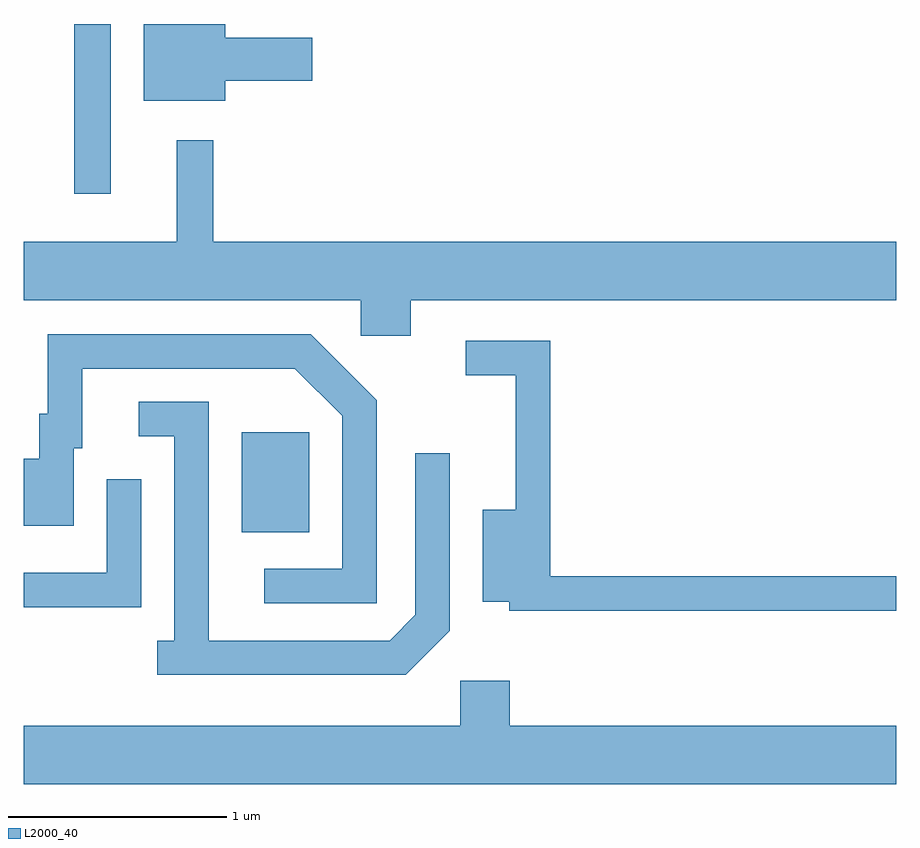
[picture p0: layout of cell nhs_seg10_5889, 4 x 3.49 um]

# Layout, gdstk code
import gdstk
lib = gdstk.Library(unit=1e-6, precision=1e-09)
def R(c, l, rs):  # rectangles x0, y0, x1, y1
    for r in rs: c.add(gdstk.rectangle(r[:2], r[2:], *l))
def P(c, l, *ps):  # polygons
    for p in ps: c.add(gdstk.Polygon(p, *l))
L2000_40 = (2000, 40)

nhs_seg10_5889 = lib.new_cell('nhs_seg10_5889')
R(nhs_seg10_5889, L2000_40, [(360.611,2106.191,360.919,2106.649), (359.841,2107.743,360.009,2108.522)])
P(nhs_seg10_5889, L2000_40, [(360.534,2108.261),(360.934,2108.261),(360.934,2108.459),(360.534,2108.459),(360.534,2108.522),(360.161,2108.522),(360.161,2108.171),(360.534,2108.171)],
  [(361.384,2107.256),(363.611,2107.256),(363.611,2107.524),(360.479,2107.524),(360.479,2107.988),(360.311,2107.988),(360.311,2107.524),(359.611,2107.524),(359.611,2107.256),(361.156,2107.256),(361.156,2107.091),(361.384,2107.091)],
  [(361.229,2106.797),(360.927,2107.099),(359.721,2107.099),(359.721,2106.734),(359.681,2106.734),(359.681,2106.529),(359.611,2106.529),(359.611,2106.221),(359.839,2106.221),(359.839,2106.576),(359.879,2106.576),(359.879,2106.941),(360.854,2106.941),(361.071,2106.724),(361.071,2106.024),(360.713,2106.024),(360.713,2105.866),(361.229,2105.866)],
  [(363.611,2105.989),(362.024,2105.989),(362.024,2107.069),(361.638,2107.069),(361.638,2106.911),(361.866,2106.911),(361.866,2106.294),(361.716,2106.294),(361.716,2105.871),(361.836,2105.871),(361.836,2105.831),(363.611,2105.831)],
  [(361.564,2105.739),(361.564,2106.553),(361.406,2106.553),(361.406,2105.812),(361.289,2105.694),(360.459,2105.694),(360.459,2106.789),(360.138,2106.789),(360.138,2106.631),(360.301,2106.631),(360.301,2105.694),(360.223,2105.694),(360.223,2105.536),(361.362,2105.536)],
  [(360.149,2106.433),(359.991,2106.433),(359.991,2106.004),(359.611,2106.004),(359.611,2105.846),(360.149,2105.846)],
  [(363.611,2105.304),(361.839,2105.304),(361.839,2105.509),(361.611,2105.509),(361.611,2105.304),(359.611,2105.304),(359.611,2105.036),(363.611,2105.036)])

lib.write_gds('nhs_seg10_5889.gds')
